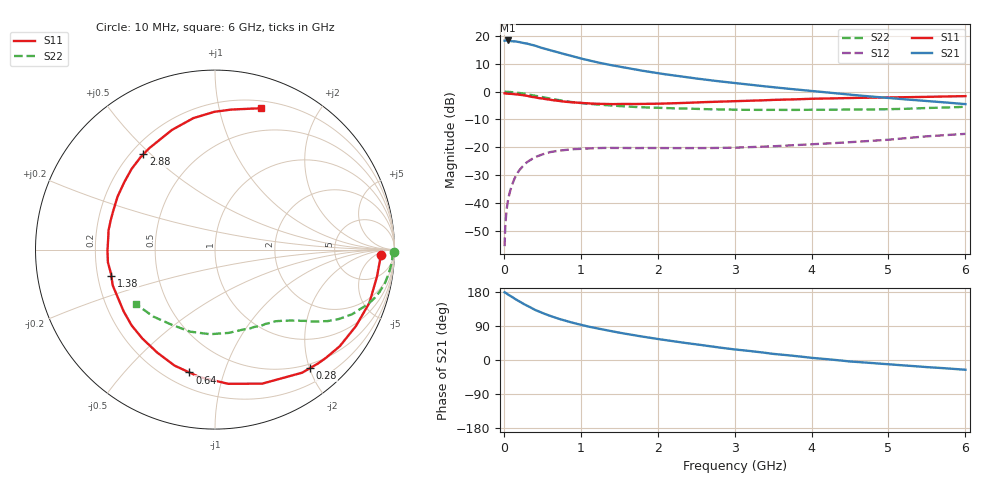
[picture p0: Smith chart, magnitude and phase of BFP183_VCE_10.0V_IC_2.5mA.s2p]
! Infineon Technologies  Discrete & RF Semiconductors
! BFP183
! VCE = 10.0V,  IC =  2.5 mA
! Common Emitter S-Parameters:  Jan 2016
# GHz  S  MA  R  50
!  f  S11  S21  S12  S22
! GHz  MAG  ANG  MAG  ANG  MAG  ANG  MAG  ANG
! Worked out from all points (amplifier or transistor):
!   210 points, 10 MHz to 6 GHz, reference 50 ohm
!   highest |S21| = 18.3 dB at 50 MHz (marker M1)
!   |S21| within 3 dB of that: start of sweep to 536.6 MHz
!   unconditionally stable (mu >= 1): 2.048 GHz to 5.881 GHz
!   at 185 MHz: K = 0.11, MSG = 23.3 dB, |S12| = -28.8 dB
!   at 1.52 GHz: K = 0.75, MSG = 14.5 dB, |S12| = -20.2 dB
!   at 6 GHz: K = 0.96, MSG = 5.3 dB, |S12| = -15.2 dB
!   S11 on the Smith chart (normalised r, x): 10 MHz: 22, -10; 280 MHz: 0.43, -2.01; 640 MHz: 0.29, -0.77; 1.38 GHz: 0.26, -0.12; 2.88 GHz: 0.25, +0.47; 6 GHz: 0.27, +1.34
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0.01  0.9267 -1.9  8.14 178.7  0.0017 84.1  0.9958 -0.7
0.015  0.9236 -2.9  8.164 178.2  0.0029 84.5  0.9924 -1.1
0.025  0.9192 -4.8  8.191 177.1  0.0052 84.7  0.9889 -1.9
0.05  0.9149 -9.5  8.224 173.4  0.0105 85.0  0.9887 -3.7
0.15  0.8933 -28.5  7.923 160.7  0.0298 73.6  0.9654 -11.1
0.195  0.8797 -36.8  7.752 155.1  0.0379 69.3  0.948 -14.2
0.28  0.8464 -51.2  7.304 145.7  0.0511 61.5  0.9072 -19.2
0.4  0.7918 -70.6  6.676 132.8  0.0664 52.1  0.8441 -25.3
0.5  0.7513 -84.4  6.012 124.0  0.0748 45.2  0.7919 -29.2
0.64  0.6991 -101.8  5.316 113.9  0.084 38.3  0.7317 -33.0
0.8  0.6576 -119.4  4.642 103.3  0.0901 31.8  0.674 -36.5
1.02  0.6241 -139.3  3.85 92.0  0.0946 25.7  0.6175 -39.9
1.12  0.6114 -147.5  3.586 87.2  0.0963 23.5  0.5994 -41.2
1.38  0.596 -165.8  3 76.8  0.0979 19.1  0.5641 -44.6
1.68  0.5973 176.0  2.526 65.9  0.0974 16.8  0.532 -48.5
2.02  0.6063 159.6  2.112 54.9  0.0974 15.4  0.5115 -52.9
2.4  0.6295 143.5  1.787 43.9  0.0971 15.5  0.4957 -59.3
2.88  0.6645 126.9  1.483 31.0  0.0981 17.4  0.477 -67.9
3.1  0.6772 120.3  1.373 25.9  0.0999 18.7  0.4709 -72.4
4.1  0.7457 97.5  0.992 4.0  0.1153 23.0  0.4712 -96.1
5.1  0.7882 82.2  0.746 -12.8  0.1412 24.9  0.486 -122.6
6  0.828 71.9  0.596 -25.7  0.1746 20.2  0.534 -145.2
